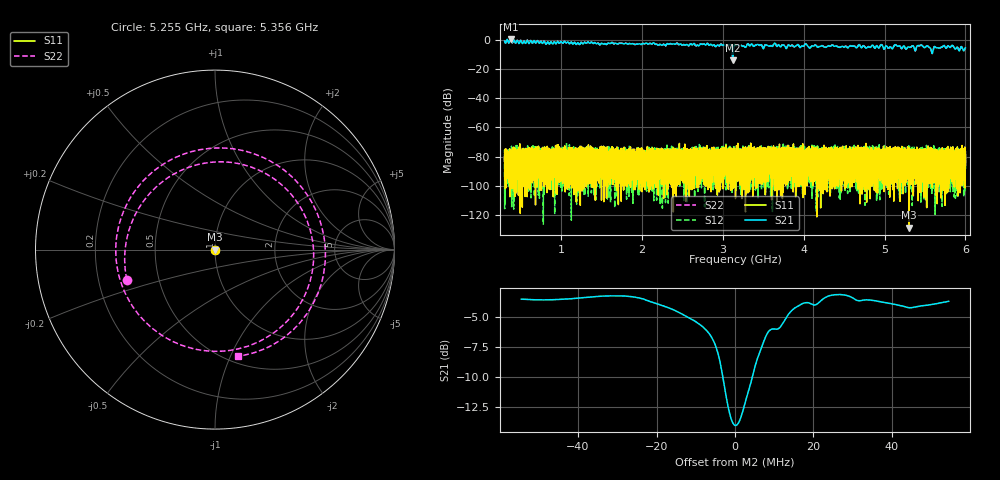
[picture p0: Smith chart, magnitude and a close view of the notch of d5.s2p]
!Agilent Technologies,N5230C,SG49000117,A.08.50.07
!Agilent N5230C: A.08.50.07
!Date: Sunday, March 17, 2024 02:22:52
!Correction: S11(Off)
!S21(Off)
!S12(Off)
!S22(Off)
!S2P File: Measurements: S11, S21, S12, S22:
# Hz S  RI  R 50
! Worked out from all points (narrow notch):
!   20001 points, 300 MHz to 6 GHz, reference 50 ohm
!   highest |S21| = 0.46 dB at 373.5 MHz (marker M1); lowest = -14.0 dB at 3.121 GHz (marker M2)
!   notch at M2: 10.4 dB deep, 9.12 MHz wide at half that depth
!   lowest |S11| = -128.7 dB at 5.305 GHz (marker M3), VSWR 1.00, Z = 50 - j1.72e-05 ohm
!   |S11| at or under -10 dB: start of sweep to end of sweep
!   |S22| runs from -14.0 to 0.5 dB; largest |S21 - S12| = 1.1
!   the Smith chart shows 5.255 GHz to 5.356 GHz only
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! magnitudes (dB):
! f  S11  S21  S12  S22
! 300 MHz  -81.4  -1.0  -82.4  -0.9
! 373.5 MHz  -85.1  0.5  -76.2  0.5
! 1.25 GHz  -86.0  -1.7  -83.1  -1.7
! 2.2 GHz  -95.5  -3.7  -83.9  -3.7
! 3.075 GHz  -88.3  -3.5  -73.7  -3.5
! 3.121 GHz  -82.5  -14.0  -87.3  -14.0
! 3.15 GHz  -77.6  -3.2  -97.8  -3.2
! 3.166 GHz  -85.9  -4.2  -78.7  -4.2
! 3.265 GHz  -78.0  -4.5  -80.4  -4.5
! 3.332 GHz  -81.8  -4.1  -80.7  -4.1
! 3.778 GHz  -80.5  -5.7  -82.6  -5.6
! 4.025 GHz  -78.5  -2.8  -80.3  -2.7
! 4.1 GHz  -85.2  -4.2  -81.5  -4.1
! 5.05 GHz  -74.7  -5.8  -76.5  -5.7
! 5.144 GHz  -88.7  -3.7  -77.4  -3.7
! 5.305 GHz  -128.7  -5.0  -80.9  -5.0
! 5.386 GHz  -92.4  -6.8  -78.9  -6.8
! 5.439 GHz  -81.8  -3.9  -82.1  -3.9
! 5.54 GHz  -81.1  -4.6  -85.8  -4.6
! 5.58 GHz  -81.9  -7.6  -82.5  -7.6
! 5.724 GHz  -88.8  -4.3  -83.3  -4.4
! 6 GHz  -78.9  -5.6  -78.0  -5.6
